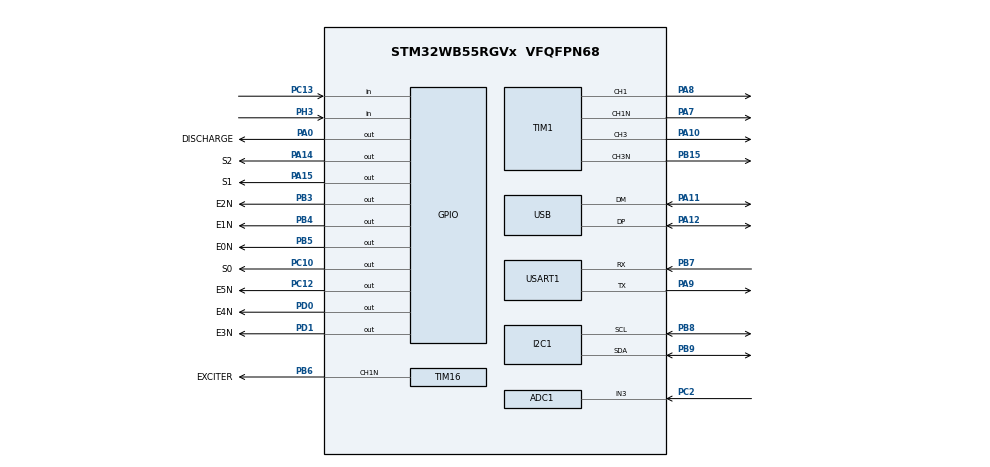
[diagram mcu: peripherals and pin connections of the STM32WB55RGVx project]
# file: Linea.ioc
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ADC1.Channel-1\#ChannelRegularConversion=ADC_CHANNEL_3
ADC1.NbrOfConversionFlag=1
ADC1.OffsetNumber-1\#ChannelRegularConversion=ADC_OFFSET_NONE
ADC1.Rank-1\#ChannelRegularConversion=1
ADC1.SamplingTime-1\#ChannelRegularConversion=ADC_SAMPLETIME_2CYCLES_5
ADC1.master=1
I2C1.Timing=0x10B17DB5
Mcu.Family=STM32WB
Mcu.Name=STM32WB55RGVx
Mcu.Package=VFQFPN68
NVIC.HSEM_IRQn=true\:0\:0\:false\:false\:true\:false\:true\:true
NVIC.IPCC_C1_RX_IRQn=true\:0\:0\:false\:false\:true\:true\:true\:true
NVIC.IPCC_C1_TX_IRQn=true\:0\:0\:false\:false\:true\:true\:true\:true
NVIC.PriorityGroup=NVIC_PRIORITYGROUP_4
NVIC.RTC_WKUP_IRQn=true\:0\:0\:false\:false\:true\:true\:true\:true
NVIC.TIM1_UP_TIM16_IRQn=true\:0\:0\:false\:false\:true\:true\:true\:true
NVIC.USB_HP_IRQn=true\:0\:0\:false\:false\:true\:true\:true\:true
NVIC.USB_LP_IRQn=true\:0\:0\:false\:false\:true\:true\:true\:true
OSC_IN.Mode=HSE-External-Oscillator
OSC_IN.Signal=RCC_OSC_IN
OSC_OUT.Mode=HSE-External-Oscillator
OSC_OUT.Signal=RCC_OSC_OUT
PA0.GPIO_Label=DISCHARGE
PA0.Signal=GPIO_Output
PA1.Signal=S_TIM2_CH2
PA10.GPIO_Speed=GPIO_SPEED_FREQ_MEDIUM
PA10.Signal=S_TIM1_CH3
PA11.Mode=Device
PA11.Signal=USB_DM
PA12.Mode=Device
PA12.Signal=USB_DP
PA14.GPIO_Label=S2
PA14.Signal=GPIO_Output
PA15.GPIO_Label=S1
PA15.Signal=GPIO_Output
PA2.Signal=S_TIM2_CH3
PA7.GPIO_Speed=GPIO_SPEED_FREQ_MEDIUM
PA7.Mode=PWM Generation1 CH1 CH1N
PA7.Signal=TIM1_CH1N
PA8.GPIO_Speed=GPIO_SPEED_FREQ_MEDIUM
PA8.Signal=S_TIM1_CH1
PA9.Mode=Asynchronous
PA9.Signal=USART1_TX
PB15.GPIO_Speed=GPIO_SPEED_FREQ_MEDIUM
PB15.Mode=PWM Generation3 CH3 CH3N
PB15.Signal=TIM1_CH3N
PB3.GPIO_Label=E2N
PB3.Signal=GPIO_Output
PB4.GPIO_Label=E1N
PB4.Signal=GPIO_Output
PB5.GPIO_Label=E0N
PB5.Signal=GPIO_Output
PB6.GPIO_Label=EXCITER
PB6.GPIO_Speed=GPIO_SPEED_FREQ_VERY_HIGH
PB6.Mode=PWM Generation1 CH1N
PB6.Signal=TIM16_CH1N
PB7.Mode=Asynchronous
PB7.Signal=USART1_RX
PB8.Mode=I2C
PB8.Signal=I2C1_SCL
PB9.Mode=I2C
PB9.Signal=I2C1_SDA
PC10.GPIO_Label=S0
PC10.Signal=GPIO_Output
PC12.GPIO_Label=E5N
PC12.Signal=GPIO_Output
PC13.Signal=GPIO_Input
PC14-OSC32_IN.Mode=LSE-External-Oscillator
PC14-OSC32_IN.Signal=RCC_OSC32_IN
PC15-OSC32_OUT.Mode=LSE-External-Oscillator
PC15-OSC32_OUT.Signal=RCC_OSC32_OUT
PC2.Signal=ADCx_IN3
PD0.GPIO_Label=E4N
PD0.Signal=GPIO_Output
PD1.GPIO_Label=E3N
PD1.Signal=GPIO_Output
PH3-BOOT0.Signal=GPIO_Input
ProjectManager.HeapSize=0x2000
ProjectManager.StackSize=0x1000
ProjectManager.TargetToolchain=Makefile
RCC.ADCFreq_Value=48000000
RCC.AHB2CLKDivider=RCC_SYSCLK_DIV2
RCC.AHBFreq_Value=64000000
RCC.APB1Freq_Value=64000000
RCC.APB1TimFreq_Value=64000000
RCC.APB2Freq_Value=64000000
RCC.APB2TimFreq_Value=64000000
RCC.APB3Freq_Value=16000000
RCC.Cortex2_Div=SYSTICK_CLKSOURCE_HCLK_DIV8
RCC.CortexFreq_Value=64000000
RCC.HCLKFreq_Value=64000000
RCC.HSE_VALUE=32000000
RCC.HSI48_VALUE=48000000
RCC.HSI_VALUE=16000000
RCC.MSIAutoCalibration=ENABLED
RCC.PLLN=32
RCC.PLLSAI1N=24
RCC.SYSCLKFreq_VALUE=64000000
RCC.SYSCLKSource=RCC_SYSCLKSOURCE_PLLCLK
RCC.USBFreq_Value=48000000
RCC.VCOOutputFreq_Value=128000000
RF1.Mode=RF1_Activate
RF1.Signal=RF_RF1
SH.ADCx_IN3.0=ADC1_IN3,IN3-Single-Ended
SH.S_TIM1_CH1.0=TIM1_CH1,PWM Generation1 CH1 CH1N
SH.S_TIM1_CH3.0=TIM1_CH3,PWM Generation3 CH3 CH3N
SH.S_TIM2_CH2.0=TIM2_CH2
SH.S_TIM2_CH3.0=TIM2_CH3
STM32_WPAN.AD_TYPE_COMPLETE_LOCAL_NAME=Linea
STM32_WPAN.AD_TYPE_COMPLETE_LOCAL_NAME_LENGTH=6
STM32_WPAN.CUSTOM_P2P_SERVER=Disabled
STM32_WPAN.CUSTOM_TEMPLATE=Enabled
STM32_WPAN.INCLUDE_AD_TYPE_COMPLETE_LOCAL_NAME=1
STM32_WPAN.LOCAL_NAME=Linea
STM32_WPAN.LOCAL_NAME_FORMATTED=,'L','i','n','e','a'
STM32_WPAN.NUMBER_OF_SERVICES=1
STM32_WPAN.SERVICE1_CHAR1_LONG_NAME=charWrite
STM32_WPAN.SERVICE1_CHAR1_PROP_WRITE=CHAR_PROP_WRITE
STM32_WPAN.SERVICE1_CHAR1_SHORT_NAME=charWrite
STM32_WPAN.SERVICE1_LONG_NAME=LineaService
STM32_WPAN.SERVICE1_SHORT_NAME=LinSrv
TIM1.Channel-PWM\ Generation1\ CH1\ CH1N=TIM_CHANNEL_1
TIM1.Channel-PWM\ Generation3\ CH3\ CH3N=TIM_CHANNEL_3
TIM16.Channel=TIM_CHANNEL_1
USART1.VirtualMode-Asynchronous=VM_ASYNC
USB_DEVICE.CLASS_NAME_FS=CDC
USB_DEVICE.MANUFACTURER_STRING=HUION
USB_DEVICE.USBD_MAX_NUM_INTERFACES=3
USB_DEVICE.VID=0x256C
USB_DEVICE.VirtualMode=Cdc
USB_DEVICE.VirtualModeFS=Cdc_FS
VP_HSEM_VS_HSEM.Mode=HSEM_Activate
VP_IPCC_VS_IPCC.Mode=IPCC_Activate
VP_MEMORYMAP_VS_MEMORYMAP.Mode=CurAppReg
VP_RTC_VS_RTC_Activate.Mode=RTC_Enabled
VP_RTC_VS_RTC_WakeUp_intern.Mode=WakeUp
VP_SEQUENCER_VS_SEQUENCER.Mode=SEQUENCER_Enabled
VP_STM32_WPAN_VS_BLE_HOST.Mode=STM32_WPAN_Enabled
VP_TIM16_VS_ClockSourceINT.Mode=Enable_Timer
VP_TIM16_VS_OPM.Mode=OPM_bit
VP_TIM1_VS_ClockSourceINT.Mode=Internal
VP_TINY_LPM_VS_TINY_LPM.Mode=TINY_LPM_Enabled
VP_USB_DEVICE_VS_USB_DEVICE_CDC_FS.Mode=CDC_FS
board=custom

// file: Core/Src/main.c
/* USER CODE BEGIN Header */
/**
  ******************************************************************************
  * @file           : main.c
  * @brief          : Main program body
  ******************************************************************************
  * @attention
  *
  * Copyright (c) 2025 STMicroelectronics.
  * All rights reserved.
  *
  * This software is licensed under terms that can be found in the LICENSE file
  * in the root directory of this software component.
  * If no LICENSE file comes with this software, it is provided AS-IS.
  *
  ******************************************************************************
  */
/* USER CODE END Header */
#include "main.h"
#include "adc.h"
#include "i2c.h"
#include "ipcc.h"
#include "memorymap.h"
#include "rf.h"
#include "rtc.h"
#include "tim.h"
#include "usart.h"
#include "usb_device.h"
#include "gpio.h"

/* USER CODE BEGIN Includes */
// #include "linea.h"
#include "stdio.h"
#include "patchouli_config.h"
#include "patchouli.h"
#include "usbd_cdc_if.h"

#define VERBOSE 1

#if defined(PATCHOULI_PCB_DISCRETE_SST)
  #include "patchouli_bsp_discrete_sst.h"
#elif defined(PATCHOULI_PCB_GLIDER_ADDON_V1)
  #include "patchouli_bsp_glider_addon_v1.h"
#endif
/* USER CODE END Includes */

void SystemClock_Config(void);
void PeriphCommonClock_Config(void);

/* USER CODE BEGIN 0 */
uint8_t usbhid_txbuf[12];
/* USER CODE END 0 */

int main(void)
{

  /* MCU Configuration--------------------------------------------------------*/

  /* Reset of all peripherals, Initializes the Flash interface and the Systick. */
  HAL_Init();
  /* Config code for STM32_WPAN (HSE Tuning must be done before system clock configuration) */
  MX_APPE_Config();

  /* Configure the system clock */
  SystemClock_Config();

  /* Configure the peripherals common clocks */
  PeriphCommonClock_Config();

  /* IPCC initialisation */
  MX_IPCC_Init();

  /* Initialize all configured peripherals */
  MX_GPIO_Init();
  MX_ADC1_Init();
  HAL_ADCEx_Calibration_Start(&hadc1, ADC_SINGLE_ENDED);
  MX_I2C1_Init();
  MX_TIM1_Init();
  MX_TIM16_Init();
  MX_USART1_UART_Init();
  MX_RTC_Init();
  MX_USB_Device_Init();
  MX_RF_Init();
  /* USER CODE BEGIN 2 */
    // CDC_Transmit_FS("Hello World", 12);
    MX_USB_Device_Init();
  HAL_Delay(1000);
  CDC_Transmit_FS("Hello World\n", 13);
  CDC_Transmit_FS("Hello Worldaa\n", 15);

  patchouli_init();
  patchouli_set_mode(PATCHOULI_DEBUG_NONE);
  HAL_Delay(1000);

  // CDC_Transmit_FS("Init Done\n", 11);
  // CDC_Transmit_FS("SYSCLK: ", 9);
  // char buf[10];
  // sprintf(buf, "%d", (int)(HAL_RCC_GetSysClockFreq()/1.0e6f));
  // CDC_Transmit_FS(buf, strlen(buf));
  // CDC_Transmit_FS(" MHz", 7);
  htim16.Instance->RCR=50;
  // PB6 (EXCITER) is TIM16_CH1N — don't reconfigure as GPIO or PWM stops
  CDC_Transmit_FS("Glider Addon Build2\n", 20);
  HAL_Delay(1000);
  CDC_Transmit_FS("Glider Addon Build3\n", 20);

  // ADC debug: test internal VREFINT and external PC2
  {
    ADC_ChannelConfTypeDef sConf = {0};

    // First: read internal VREFINT
    sConf.Channel = ADC_CHANNEL_VREFINT;
    sConf.Rank = ADC_REGULAR_RANK_1;
    sConf.SamplingTime = ADC_SAMPLETIME_247CYCLES_5;
    sConf.SingleDiff = ADC_SINGLE_ENDED;
    sConf.OffsetNumber = ADC_OFFSET_NONE;
    HAL_ADC_ConfigChannel(&hadc1, &sConf);
    HAL_ADC_Start(&hadc1);
    HAL_ADC_PollForConversion(&hadc1, HAL_MAX_DELAY);
    uint16_t vref = HAL_ADC_GetValue(&hadc1);

    // Then: read PC2 (channel 3)
    sConf.Channel = ADC_CHANNEL_3;
    HAL_ADC_ConfigChannel(&hadc1, &sConf);
    HAL_ADC_Start(&hadc1);
    HAL_ADC_PollForConversion(&hadc1, HAL_MAX_DELAY);
    uint16_t ch3 = HAL_ADC_GetValue(&hadc1);

    char dbg[64];
    sprintf(dbg, "VREF: %u  CH3: %u\n", vref, ch3);
    CDC_Transmit_FS((uint8_t*)dbg, strlen(dbg));
    HAL_Delay(500);
  }

  /* USER CODE END 2 */

  /* Init code for STM32_WPAN */
  MX_APPE_Init();

  /* Infinite loop */
  while (1)
  {
    MX_APPE_Process();

    /* USER CODE BEGIN 3 */
    // Process Linea library
    patchouli_cycle();
    // linea_cycle();
  }
  /* USER CODE END 3 */
}

void SystemClock_Config(void)
{
  RCC_OscInitTypeDef RCC_OscInitStruct = {0};
  RCC_ClkInitTypeDef RCC_ClkInitStruct = {0};

  /** Configure LSE Drive Capability
  */
  HAL_PWR_EnableBkUpAccess();
  __HAL_RCC_LSEDRIVE_CONFIG(RCC_LSEDRIVE_MEDIUMHIGH);

  /** Configure the main internal regulator output voltage
  */
  __HAL_PWR_VOLTAGESCALING_CONFIG(PWR_REGULATOR_VOLTAGE_SCALE1);

  /** Initializes the RCC Oscillators according to the specified parameters
  * in the RCC_OscInitTypeDef structure.
  */
  RCC_OscInitStruct.OscillatorType = RCC_OSCILLATORTYPE_HSI|RCC_OSCILLATORTYPE_LSI1
                              |RCC_OSCILLATORTYPE_HSE|RCC_OSCILLATORTYPE_LSE
                              |RCC_OSCILLATORTYPE_MSI;
  RCC_OscInitStruct.HSEState = RCC_HSE_ON;
  RCC_OscInitStruct.LSEState = RCC_LSE_ON;
  RCC_OscInitStruct.HSIState = RCC_HSI_ON;
  RCC_OscInitStruct.MSIState = RCC_MSI_ON;
  RCC_OscInitStruct.HSICalibrationValue = RCC_HSICALIBRATION_DEFAULT;
  RCC_OscInitStruct.MSICalibrationValue = RCC_MSICALIBRATION_DEFAULT;
  RCC_OscInitStruct.MSIClockRange = RCC_MSIRANGE_6;
  RCC_OscInitStruct.LSIState = RCC_LSI_ON;
  RCC_OscInitStruct.PLL.PLLState = RCC_PLL_ON;
  RCC_OscInitStruct.PLL.PLLSource = RCC_PLLSOURCE_MSI;
  RCC_OscInitStruct.PLL.PLLM = RCC_PLLM_DIV1;
  RCC_OscInitStruct.PLL.PLLN = 32;
  RCC_OscInitStruct.PLL.PLLP = RCC_PLLP_DIV2;
  RCC_OscInitStruct.PLL.PLLR = RCC_PLLR_DIV2;
  RCC_OscInitStruct.PLL.PLLQ = RCC_PLLQ_DIV2;
  if (HAL_RCC_OscConfig(&RCC_OscInitStruct) != HAL_OK)
  {
    Error_Handler();
  }

  /** Configure the SYSCLKSource, HCLK, PCLK1 and PCLK2 clocks dividers
  */
  RCC_ClkInitStruct.ClockType = RCC_CLOCKTYPE_HCLK4|RCC_CLOCKTYPE_HCLK2
                              |RCC_CLOCKTYPE_HCLK|RCC_CLOCKTYPE_SYSCLK
                              |RCC_CLOCKTYPE_PCLK1|RCC_CLOCKTYPE_PCLK2;
  RCC_ClkInitStruct.SYSCLKSource = RCC_SYSCLKSOURCE_PLLCLK;
  RCC_ClkInitStruct.AHBCLKDivider = RCC_SYSCLK_DIV1;
  RCC_ClkInitStruct.APB1CLKDivider = RCC_HCLK_DIV1;
  RCC_ClkInitStruct.APB2CLKDivider = RCC_HCLK_DIV1;
  RCC_ClkInitStruct.AHBCLK2Divider = RCC_SYSCLK_DIV2;
  RCC_ClkInitStruct.AHBCLK4Divider = RCC_SYSCLK_DIV1;

  if (HAL_RCC_ClockConfig(&RCC_ClkInitStruct, FLASH_LATENCY_3) != HAL_OK)
  {
    Error_Handler();
  }

  /** Enable MSI Auto calibration
  */
  HAL_RCCEx_EnableMSIPLLMode();
}

void PeriphCommonClock_Config(void)
{
  RCC_PeriphCLKInitTypeDef PeriphClkInitStruct = {0};

  /** Initializes the peripherals clock
  */
  PeriphClkInitStruct.PeriphClockSelection = RCC_PERIPHCLK_SMPS|RCC_PERIPHCLK_RFWAKEUP
                              |RCC_PERIPHCLK_USB|RCC_PERIPHCLK_ADC;
  PeriphClkInitStruct.PLLSAI1.PLLN = 24;
  PeriphClkInitStruct.PLLSAI1.PLLP = RCC_PLLP_DIV2;
  PeriphClkInitStruct.PLLSAI1.PLLQ = RCC_PLLQ_DIV2;
  PeriphClkInitStruct.PLLSAI1.PLLR = RCC_PLLR_DIV2;
  PeriphClkInitStruct.PLLSAI1.PLLSAI1ClockOut = RCC_PLLSAI1_USBCLK|RCC_PLLSAI1_ADCCLK;
  PeriphClkInitStruct.UsbClockSelection = RCC_USBCLKSOURCE_PLLSAI1;
  PeriphClkInitStruct.AdcClockSelection = RCC_ADCCLKSOURCE_PLLSAI1;
  PeriphClkInitStruct.RFWakeUpClockSelection = RCC_RFWKPCLKSOURCE_HSE_DIV1024;
  PeriphClkInitStruct.SmpsClockSelection = RCC_SMPSCLKSOURCE_HSI;
  PeriphClkInitStruct.SmpsDivSelection = RCC_SMPSCLKDIV_RANGE1;

  if (HAL_RCCEx_PeriphCLKConfig(&PeriphClkInitStruct) != HAL_OK)
  {
    Error_Handler();
  }
  /* USER CODE BEGIN Smps */
  LL_HSEM_1StepLock(HSEM, 5);
  /* USER CODE END Smps */
}

void Error_Handler(void)
{
  __disable_irq();
  while (1)
  {
  }
}
